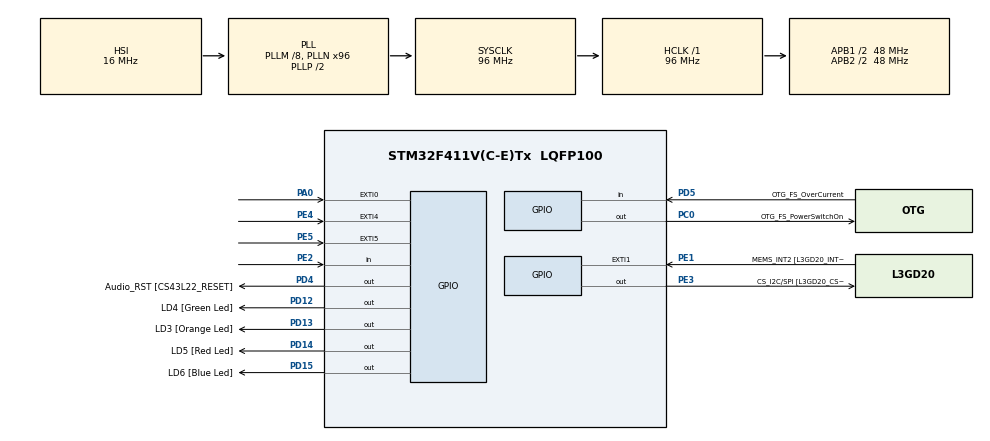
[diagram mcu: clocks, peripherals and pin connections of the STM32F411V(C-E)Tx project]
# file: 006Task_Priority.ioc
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Mcu.Family=STM32F4
Mcu.Name=STM32F411V(C-E)Tx
Mcu.Package=LQFP100
NVIC.EXTI0_IRQn=true\:6\:0\:true\:false\:true\:true\:true\:true
NVIC.PriorityGroup=NVIC_PRIORITYGROUP_4
NVIC.TIM5_IRQn=true\:0\:0\:false\:false\:true\:false\:true\:true
NVIC.TimeBase=TIM5_IRQn
NVIC.TimeBaseIP=TIM5
PA0-WKUP.GPIO_ModeDefaultEXTI=GPIO_MODE_IT_FALLING
PA0-WKUP.Signal=GPXTI0
PA10.GPIO_Label=OTG_FS_ID
PA10.Signal=USB_OTG_FS_ID
PA11.GPIO_Label=OTG_FS_DM
PA11.Signal=USB_OTG_FS_DM
PA12.GPIO_Label=OTG_FS_DP
PA12.Signal=USB_OTG_FS_DP
PA13.GPIO_Label=SWDIO
PA13.Signal=SYS_JTMS-SWDIO
PA14.GPIO_Label=SWCLK
PA14.Signal=SYS_JTCK-SWCLK
PA4.GPIO_Label=I2S3_WS [CS43L22_LRCK]
PA4.GPIO_Mode=GPIO_MODE_AF_PP
PA4.GPIO_PuPd=GPIO_NOPULL
PA4.GPIO_Speed=GPIO_SPEED_FREQ_LOW
PA4.Signal=I2S3_WS
PA5.GPIO_Label=SPI1_SCK [L3GD20_SC/SPC]
PA5.Signal=SPI1_SCK
PA6.GPIO_Label=SPI1_MISO [L3GD20_AS0/SDO]
PA6.Signal=SPI1_MISO
PA7.GPIO_Label=SPI1_MOSI [L3GD20_SDA/SDI/SDO]
PA7.Signal=SPI1_MOSI
PA9.GPIO_Label=VBUS_FS
PA9.Signal=USB_OTG_FS_VBUS
PB10.GPIO_Label=CLK_IN [MP45DT02_CLK]
PB10.Signal=I2S2_CK
PB12.Signal=I2S2_WS
PB3.GPIO_Label=SWO
PB3.Signal=SYS_JTDO-SWO
PB6.GPIO_Label=Audio_SCL [CS43L22_SCL]
PB6.GPIO_Mode=GPIO_MODE_AF_OD
PB6.GPIO_PuPd=GPIO_NOPULL
PB6.GPIO_Speed=GPIO_SPEED_FREQ_LOW
PB6.Signal=I2C1_SCL
PB9.GPIO_Label=Audio_SDA [CS43L22_SDA]
PB9.GPIO_Mode=GPIO_MODE_AF_OD
PB9.GPIO_PuPd=GPIO_NOPULL
PB9.GPIO_Speed=GPIO_SPEED_FREQ_LOW
PB9.Signal=I2C1_SDA
PC0.GPIO_Label=OTG_FS_PowerSwitchOn
PC0.PinState=GPIO_PIN_SET
PC0.Signal=GPIO_Output
PC10.GPIO_Label=I2S3_SCK [CS43L22_SCLK]
PC10.GPIO_Mode=GPIO_MODE_AF_PP
PC10.GPIO_PuPd=GPIO_NOPULL
PC10.GPIO_Speed=GPIO_SPEED_FREQ_LOW
PC10.Signal=I2S3_CK
PC12.GPIO_Label=I2S3_SD [CS43L22_SDIN]
PC12.GPIO_Mode=GPIO_MODE_AF_PP
PC12.GPIO_PuPd=GPIO_NOPULL
PC12.GPIO_Speed=GPIO_SPEED_FREQ_LOW
PC12.Signal=I2S3_SD
PC14-OSC32_IN.GPIO_Label=PC14-OSC32_IN
PC14-OSC32_IN.Signal=RCC_OSC32_IN
PC15-OSC32_OUT.GPIO_Label=PC15-OSC32_OUT
PC15-OSC32_OUT.Signal=RCC_OSC32_OUT
PC3.GPIO_Label=PDM_OUT [MP45DT02_DOUT]
PC3.Signal=I2S2_SD
PC7.GPIO_Label=I2S3_MCK [CS43L22_MCLK]
PC7.GPIO_Mode=GPIO_MODE_AF_PP
PC7.GPIO_PuPd=GPIO_NOPULL
PC7.GPIO_Speed=GPIO_SPEED_FREQ_LOW
PC7.Signal=I2S3_MCK
PD12.GPIO_Label=LD4 [Green Led]
PD12.GPIO_PuPd=GPIO_NOPULL
PD12.GPIO_Speed=GPIO_SPEED_FREQ_LOW
PD12.Signal=GPIO_Output
PD13.GPIO_Label=LD3 [Orange Led]
PD13.GPIO_PuPd=GPIO_NOPULL
PD13.GPIO_Speed=GPIO_SPEED_FREQ_LOW
PD13.Signal=GPIO_Output
PD14.GPIO_Label=LD5 [Red Led]
PD14.GPIO_PuPd=GPIO_NOPULL
PD14.GPIO_Speed=GPIO_SPEED_FREQ_LOW
PD14.Signal=GPIO_Output
PD15.GPIO_Label=LD6 [Blue Led]
PD15.GPIO_PuPd=GPIO_NOPULL
PD15.GPIO_Speed=GPIO_SPEED_FREQ_LOW
PD15.Signal=GPIO_Output
PD4.GPIO_Label=Audio_RST [CS43L22_RESET]
PD4.Signal=GPIO_Output
PD5.GPIO_Label=OTG_FS_OverCurrent
PD5.Signal=GPIO_Input
PE1.GPIO_Label=MEMS_INT2 [L3GD20_INT2]
PE1.GPIO_ModeDefaultEXTI=GPIO_MODE_EVT_RISING
PE1.Signal=GPXTI1
PE2.Signal=GPIO_Input
PE3.GPIO_Label=CS_I2C/SPI [L3GD20_CS_I2C/SPI]
PE3.Signal=GPIO_Output
PE4.GPIO_ModeDefaultEXTI=GPIO_MODE_EVT_RISING
PE4.Signal=GPXTI4
PE5.GPIO_ModeDefaultEXTI=GPIO_MODE_EVT_RISING
PE5.Signal=GPXTI5
PH0\ -\ OSC_IN.GPIO_Label=PH0-OSC_IN
PH0\ -\ OSC_IN.Signal=RCC_OSC_IN
PH1\ -\ OSC_OUT.GPIO_Label=PH1-OSC_OUT
PH1\ -\ OSC_OUT.Signal=RCC_OSC_OUT
ProjectManager.HeapSize=0x200
ProjectManager.StackSize=0x400
ProjectManager.TargetToolchain=STM32CubeIDE
RCC.48MHZClocksFreq_Value=24000000
RCC.AHBFreq_Value=96000000
RCC.APB1CLKDivider=RCC_HCLK_DIV2
RCC.APB1Freq_Value=48000000
RCC.APB1TimFreq_Value=96000000
RCC.APB2CLKDivider=RCC_HCLK_DIV2
RCC.APB2Freq_Value=48000000
RCC.APB2TimFreq_Value=96000000
RCC.CortexFreq_Value=96000000
RCC.HCLKFreq_Value=96000000
RCC.HSE_VALUE=8000000
RCC.HSI_VALUE=16000000
RCC.LSE_VALUE=32768
RCC.PLLI2SM=5
RCC.PLLI2SN=200
RCC.PLLM=8
RCC.PLLN=96
RCC.PLLQ=8
RCC.SYSCLKFreq_VALUE=96000000
RCC.SYSCLKSource=RCC_SYSCLKSOURCE_PLLCLK
RCC.VCOOutputFreq_Value=192000000
VP_SYS_VS_tim5.Mode=TIM5
board=STM32F411E-DISCO

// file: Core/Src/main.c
/* USER CODE BEGIN Header */
/**
  ******************************************************************************
  * @file           : main.c
  * @brief          : Main program body
  ******************************************************************************
  * @attention
  *
  * Copyright (c) 2024 STMicroelectronics.
  * All rights reserved.
  *
  * This software is licensed under terms that can be found in the LICENSE file
  * in the root directory of this software component.
  * If no LICENSE file comes with this software, it is provided AS-IS.
  *
  ******************************************************************************
  */
/* USER CODE END Header */
#include "main.h"

/* USER CODE BEGIN Includes */
#include "FreeRTOS.h"
#include "task.h"
/* USER CODE END Includes */

/* USER CODE BEGIN PV */
#define DWT_CTRL 				(*(volatile uint32_t *)0xE0001000)
/* USER CODE END PV */

void SystemClock_Config(void);
static void MX_GPIO_Init(void);

/* USER CODE BEGIN 0 */
void switch_priority(void);
static void led_green_handler(void *parameters);
static void led_orange_handler(void *parameters);

TaskHandle_t led_green_h;
TaskHandle_t led_orange_h;

TaskHandle_t volatile next_task_handle = NULL;

UBaseType_t volatile status_button = 0;
/* USER CODE END 0 */

int main(void)
{

  /* USER CODE BEGIN 1 */
  BaseType_t status;
  /* USER CODE END 1 */

  /* MCU Configuration--------------------------------------------------------*/

  /* Reset of all peripherals, Initializes the Flash interface and the Systick. */
  HAL_Init();

  /* Configure the system clock */
  SystemClock_Config();

  /* Initialize all configured peripherals */
  MX_GPIO_Init();
  /* USER CODE BEGIN 2 */
  DWT_CTRL |= ( 1 << 0 );	// Enable the CyCCNT counter
  SEGGER_SYSVIEW_Conf();
  SEGGER_SYSVIEW_Start();	// Single-shot viewer

  status = xTaskCreate(led_green_handler, "LED-Green-Task", 200, NULL, 2, &led_green_h);
  configASSERT(status == pdPASS);

  next_task_handle = led_green_h;

  status = xTaskCreate(led_orange_handler, "LED-Green-Task", 200, NULL, 3, &led_orange_h);
  configASSERT(status == pdPASS);

  vTaskStartScheduler();

  /* USER CODE END 2 */

  /* Infinite loop */
  while (1)
  {

  }
}

void SystemClock_Config(void)
{
  RCC_OscInitTypeDef RCC_OscInitStruct = {0};
  RCC_ClkInitTypeDef RCC_ClkInitStruct = {0};

  /** Configure the main internal regulator output voltage
  */
  __HAL_RCC_PWR_CLK_ENABLE();
  __HAL_PWR_VOLTAGESCALING_CONFIG(PWR_REGULATOR_VOLTAGE_SCALE1);

  /** Initializes the RCC Oscillators according to the specified parameters
  * in the RCC_OscInitTypeDef structure.
  */
  RCC_OscInitStruct.OscillatorType = RCC_OSCILLATORTYPE_HSI;
  RCC_OscInitStruct.HSIState = RCC_HSI_ON;
  RCC_OscInitStruct.HSICalibrationValue = RCC_HSICALIBRATION_DEFAULT;
  RCC_OscInitStruct.PLL.PLLState = RCC_PLL_ON;
  RCC_OscInitStruct.PLL.PLLSource = RCC_PLLSOURCE_HSI;
  RCC_OscInitStruct.PLL.PLLM = 8;
  RCC_OscInitStruct.PLL.PLLN = 96;
  RCC_OscInitStruct.PLL.PLLP = RCC_PLLP_DIV2;
  RCC_OscInitStruct.PLL.PLLQ = 8;
  if (HAL_RCC_OscConfig(&RCC_OscInitStruct) != HAL_OK)
  {
    Error_Handler();
  }

  /** Initializes the CPU, AHB and APB buses clocks
  */
  RCC_ClkInitStruct.ClockType = RCC_CLOCKTYPE_HCLK|RCC_CLOCKTYPE_SYSCLK
                              |RCC_CLOCKTYPE_PCLK1|RCC_CLOCKTYPE_PCLK2;
  RCC_ClkInitStruct.SYSCLKSource = RCC_SYSCLKSOURCE_PLLCLK;
  RCC_ClkInitStruct.AHBCLKDivider = RCC_SYSCLK_DIV1;
  RCC_ClkInitStruct.APB1CLKDivider = RCC_HCLK_DIV2;
  RCC_ClkInitStruct.APB2CLKDivider = RCC_HCLK_DIV2;

  if (HAL_RCC_ClockConfig(&RCC_ClkInitStruct, FLASH_LATENCY_3) != HAL_OK)
  {
    Error_Handler();
  }
}

static void MX_GPIO_Init(void)
{
  GPIO_InitTypeDef GPIO_InitStruct = {0};

  /* GPIO Ports Clock Enable */
  __HAL_RCC_GPIOE_CLK_ENABLE();
  __HAL_RCC_GPIOC_CLK_ENABLE();
  __HAL_RCC_GPIOH_CLK_ENABLE();
  __HAL_RCC_GPIOA_CLK_ENABLE();
  __HAL_RCC_GPIOB_CLK_ENABLE();
  __HAL_RCC_GPIOD_CLK_ENABLE();

  /*Configure GPIO pin Output Level */
  HAL_GPIO_WritePin(CS_I2C_SPI_GPIO_Port, CS_I2C_SPI_Pin, GPIO_PIN_RESET);

  /*Configure GPIO pin Output Level */
  HAL_GPIO_WritePin(OTG_FS_PowerSwitchOn_GPIO_Port, OTG_FS_PowerSwitchOn_Pin, GPIO_PIN_SET);

  /*Configure GPIO pin Output Level */
  HAL_GPIO_WritePin(GPIOD, LD4_Pin|LD3_Pin|LD5_Pin|LD6_Pin
                          |Audio_RST_Pin, GPIO_PIN_RESET);

  /*Configure GPIO pin : PE2 */
  GPIO_InitStruct.Pin = GPIO_PIN_2;
  GPIO_InitStruct.Mode = GPIO_MODE_INPUT;
  GPIO_InitStruct.Pull = GPIO_NOPULL;
  HAL_GPIO_Init(GPIOE, &GPIO_InitStruct);

  /*Configure GPIO pin : CS_I2C_SPI_Pin */
  GPIO_InitStruct.Pin = CS_I2C_SPI_Pin;
  GPIO_InitStruct.Mode = GPIO_MODE_OUTPUT_PP;
  GPIO_InitStruct.Pull = GPIO_NOPULL;
  GPIO_InitStruct.Speed = GPIO_SPEED_FREQ_LOW;
  HAL_GPIO_Init(CS_I2C_SPI_GPIO_Port, &GPIO_InitStruct);

  /*Configure GPIO pins : PE4 PE5 MEMS_INT2_Pin */
  GPIO_InitStruct.Pin = GPIO_PIN_4|GPIO_PIN_5|MEMS_INT2_Pin;
  GPIO_InitStruct.Mode = GPIO_MODE_EVT_RISING;
  GPIO_InitStruct.Pull = GPIO_NOPULL;
  HAL_GPIO_Init(GPIOE, &GPIO_InitStruct);

  /*Configure GPIO pin : OTG_FS_PowerSwitchOn_Pin */
  GPIO_InitStruct.Pin = OTG_FS_PowerSwitchOn_Pin;
  GPIO_InitStruct.Mode = GPIO_MODE_OUTPUT_PP;
  GPIO_InitStruct.Pull = GPIO_NOPULL;
  GPIO_InitStruct.Speed = GPIO_SPEED_FREQ_LOW;
  HAL_GPIO_Init(OTG_FS_PowerSwitchOn_GPIO_Port, &GPIO_InitStruct);

  /*Configure GPIO pin : PDM_OUT_Pin */
  GPIO_InitStruct.Pin = PDM_OUT_Pin;
  GPIO_InitStruct.Mode = GPIO_MODE_AF_PP;
  GPIO_InitStruct.Pull = GPIO_NOPULL;
  GPIO_InitStruct.Speed = GPIO_SPEED_FREQ_LOW;
  GPIO_InitStruct.Alternate = GPIO_AF5_SPI2;
  HAL_GPIO_Init(PDM_OUT_GPIO_Port, &GPIO_InitStruct);

  /*Configure GPIO pin : PA0 */
  GPIO_InitStruct.Pin = GPIO_PIN_0;
  GPIO_InitStruct.Mode = GPIO_MODE_IT_FALLING;
  GPIO_InitStruct.Pull = GPIO_NOPULL;
  HAL_GPIO_Init(GPIOA, &GPIO_InitStruct);

  /*Configure GPIO pin : I2S3_WS_Pin */
  GPIO_InitStruct.Pin = I2S3_WS_Pin;
  GPIO_InitStruct.Mode = GPIO_MODE_AF_PP;
  GPIO_InitStruct.Pull = GPIO_NOPULL;
  GPIO_InitStruct.Speed = GPIO_SPEED_FREQ_LOW;
  GPIO_InitStruct.Alternate = GPIO_AF6_SPI3;
  HAL_GPIO_Init(I2S3_WS_GPIO_Port, &GPIO_InitStruct);

  /*Configure GPIO pins : SPI1_SCK_Pin SPI1_MISO_Pin SPI1_MOSI_Pin */
  GPIO_InitStruct.Pin = SPI1_SCK_Pin|SPI1_MISO_Pin|SPI1_MOSI_Pin;
  GPIO_InitStruct.Mode = GPIO_MODE_AF_PP;
  GPIO_InitStruct.Pull = GPIO_NOPULL;
  GPIO_InitStruct.Speed = GPIO_SPEED_FREQ_VERY_HIGH;
  GPIO_InitStruct.Alternate = GPIO_AF5_SPI1;
  HAL_GPIO_Init(GPIOA, &GPIO_InitStruct);

  /*Configure GPIO pins : CLK_IN_Pin PB12 */
  GPIO_InitStruct.Pin = CLK_IN_Pin|GPIO_PIN_12;
  GPIO_InitStruct.Mode = GPIO_MODE_AF_PP;
  GPIO_InitStruct.Pull = GPIO_NOPULL;
  GPIO_InitStruct.Speed = GPIO_SPEED_FREQ_LOW;
  GPIO_InitStruct.Alternate = GPIO_AF5_SPI2;
  HAL_GPIO_Init(GPIOB, &GPIO_InitStruct);

  /*Configure GPIO pins : LD4_Pin LD3_Pin LD5_Pin LD6_Pin
                           Audio_RST_Pin */
  GPIO_InitStruct.Pin = LD4_Pin|LD3_Pin|LD5_Pin|LD6_Pin
                          |Audio_RST_Pin;
  GPIO_InitStruct.Mode = GPIO_MODE_OUTPUT_PP;
  GPIO_InitStruct.Pull = GPIO_NOPULL;
  GPIO_InitStruct.Speed = GPIO_SPEED_FREQ_LOW;
  HAL_GPIO_Init(GPIOD, &GPIO_InitStruct);

  /*Configure GPIO pins : I2S3_MCK_Pin I2S3_SCK_Pin I2S3_SD_Pin */
  GPIO_InitStruct.Pin = I2S3_MCK_Pin|I2S3_SCK_Pin|I2S3_SD_Pin;
  GPIO_InitStruct.Mode = GPIO_MODE_AF_PP;
  GPIO_InitStruct.Pull = GPIO_NOPULL;
  GPIO_InitStruct.Speed = GPIO_SPEED_FREQ_LOW;
  GPIO_InitStruct.Alternate = GPIO_AF6_SPI3;
  HAL_GPIO_Init(GPIOC, &GPIO_InitStruct);

  /*Configure GPIO pin : VBUS_FS_Pin */
  GPIO_InitStruct.Pin = VBUS_FS_Pin;
  GPIO_InitStruct.Mode = GPIO_MODE_INPUT;
  GPIO_InitStruct.Pull = GPIO_NOPULL;
  HAL_GPIO_Init(VBUS_FS_GPIO_Port, &GPIO_InitStruct);

  /*Configure GPIO pins : OTG_FS_ID_Pin OTG_FS_DM_Pin OTG_FS_DP_Pin */
  GPIO_InitStruct.Pin = OTG_FS_ID_Pin|OTG_FS_DM_Pin|OTG_FS_DP_Pin;
  GPIO_InitStruct.Mode = GPIO_MODE_AF_PP;
  GPIO_InitStruct.Pull = GPIO_NOPULL;
  GPIO_InitStruct.Speed = GPIO_SPEED_FREQ_VERY_HIGH;
  GPIO_InitStruct.Alternate = GPIO_AF10_OTG_FS;
  HAL_GPIO_Init(GPIOA, &GPIO_InitStruct);

  /*Configure GPIO pin : OTG_FS_OverCurrent_Pin */
  GPIO_InitStruct.Pin = OTG_FS_OverCurrent_Pin;
  GPIO_InitStruct.Mode = GPIO_MODE_INPUT;
  GPIO_InitStruct.Pull = GPIO_NOPULL;
  HAL_GPIO_Init(OTG_FS_OverCurrent_GPIO_Port, &GPIO_InitStruct);

  /*Configure GPIO pins : Audio_SCL_Pin Audio_SDA_Pin */
  GPIO_InitStruct.Pin = Audio_SCL_Pin|Audio_SDA_Pin;
  GPIO_InitStruct.Mode = GPIO_MODE_AF_OD;
  GPIO_InitStruct.Pull = GPIO_NOPULL;
  GPIO_InitStruct.Speed = GPIO_SPEED_FREQ_LOW;
  GPIO_InitStruct.Alternate = GPIO_AF4_I2C1;
  HAL_GPIO_Init(GPIOB, &GPIO_InitStruct);

  /* EXTI interrupt init*/
  HAL_NVIC_SetPriority(EXTI0_IRQn, 6, 0);
  HAL_NVIC_EnableIRQ(EXTI0_IRQn);

}

/* USER CODE BEGIN 4 */
static void led_green_handler(void *parameters)
{

	while(1)
	{

		SEGGER_SYSVIEW_PrintfTarget("Toggling green LED");
		HAL_GPIO_TogglePin(LD3_GPIO_Port, LD3_Pin);
		HAL_Delay(100);
		switch_priority();

	}

}

static void led_orange_handler(void *parameters)
{

	while(1)
	{

		SEGGER_SYSVIEW_PrintfTarget("Toggling orange LED");
		HAL_GPIO_TogglePin(LD4_GPIO_Port, LD4_Pin);
		HAL_Delay(1000);
		switch_priority();

	}

}

void button_interrupt_handler(void)
{

	traceISR_ENTER(); // To trace ISR with SEGGER
	status_button = 1;
	traceISR_EXIT();

}

void switch_priority(void)
{

	UBaseType_t p1;
	UBaseType_t p2;
	xTaskHandle t1;
	xTaskHandle t2;
	xTaskHandle curr;

	BaseType_t switch_priority = 0;

	portENTER_CRITICAL();
	if(status_button)
	{

		status_button = 0;
		switch_priority = 1;

	}
	portEXIT_CRITICAL();

	if(switch_priority)
	{

		t1 = led_green_h;
		t2 = led_orange_h;

		p1 = uxTaskPriorityGet(t1);
		p2 = uxTaskPriorityGet(t2);

		curr = xTaskGetCurrentTaskHandle();

		if(curr == t1)
		{

			vTaskPrioritySet(t1, p2);
			vTaskPrioritySet(t2, p1);

		}
		else
		{

			vTaskPrioritySet(t2, p1);
			vTaskPrioritySet(t1, p2);

		}

	}

}
/* USER CODE END 4 */

void HAL_TIM_PeriodElapsedCallback(TIM_HandleTypeDef *htim)
{
  if (htim->Instance == TIM5) {
    HAL_IncTick();
  }
}

void Error_Handler(void)
{
  __disable_irq();
  while (1)
  {
  }
}
